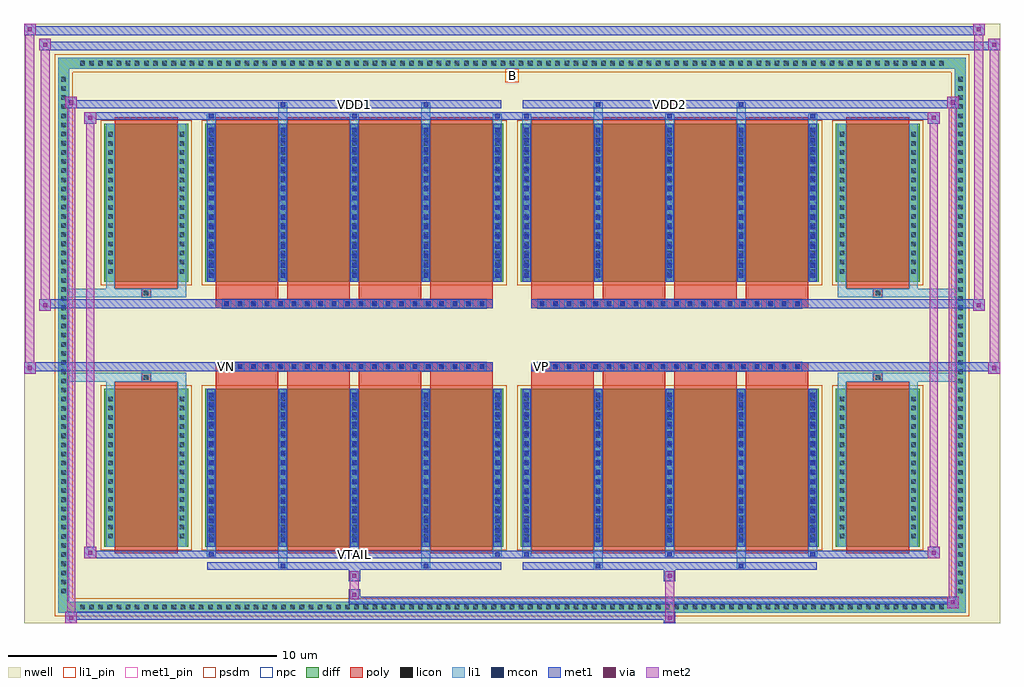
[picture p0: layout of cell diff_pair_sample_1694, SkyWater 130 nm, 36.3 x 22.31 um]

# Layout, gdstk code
import gdstk
lib = gdstk.Library(unit=1e-6, precision=5e-09)
def R(c, l, rs):  # rectangles x0, y0, x1, y1
    for r in rs: c.add(gdstk.rectangle(r[:2], r[2:], *l))
def A(c, l, x, y, w, h, nx, ny, dx, dy):  # array of equal rectangles
    R(c, l, [(x+i*dx, y+j*dy, x+i*dx+w, y+j*dy+h) for i in range(nx) for j in range(ny)])
def P(c, l, *ps):  # polygons
    for p in ps: c.add(gdstk.Polygon(p, *l))
nwell = (64, 20)
diff = (65, 20)
poly = (66, 20)
licon = (66, 44)
li1_pin = (67, 16)
li1 = (67, 20)
mcon = (67, 44)
met1_pin = (68, 16)
met1 = (68, 20)
via = (68, 44)
met2 = (69, 20)
psdm = (94, 20)
npc = (95, 20)

diff_pair_sample_1694 = lib.new_cell('diff_pair_sample_1694')
R(diff_pair_sample_1694, nwell, [(-18.15,-10.72,18.15,11.59), (-15.47,-8.91,-0.01,-0.805), (0.01,-8.91,15.47,-0.805), (-15.47,0.805,-0.01,8.91), (0.01,0.805,15.47,8.91)])
A(diff_pair_sample_1694, diff, -16.185, -10.32, 0.41, 0.41, 95, 2, 0.34, 20.23)
A(diff_pair_sample_1694, diff, -16.88, -9.725, 0.41, 0.41, 1, 57, 0, 0.34)
A(diff_pair_sample_1694, diff, 16.47, -9.725, 0.41, 0.41, 1, 57, 0, 0.34)
R(diff_pair_sample_1694, diff, [(-16.185,-10.32,16.185,-9.91), (-16.88,-9.725,-16.47,9.725), (16.47,-9.725,16.88,9.725), (-15.16,-7.865,-12.05,-1.985), (-11.41,-7.865,-0.32,-1.985), (0.32,-7.865,11.41,-1.985), (12.05,-7.865,15.16,-1.985), (-15.16,1.985,-12.05,7.865), (-11.41,1.985,-0.32,7.865), (0.32,1.985,11.41,7.865), (12.05,1.985,15.16,7.865), (-16.185,9.91,16.185,10.32)])
P(diff_pair_sample_1694, diff, [(16.88,10.32),(-16.88,10.32),(-16.88,-9.91),(-16.47,-9.91),(-16.47,9.91),(16.47,9.91),(16.47,-9.91),(-16.47,-9.91),(-16.88,-9.91),(-16.88,-10.32),(16.88,-10.32)])
A(diff_pair_sample_1694, poly, -11.02, -8.115, 2.33, 6.38, 4, 2, 2.66, 9.85)
A(diff_pair_sample_1694, poly, 0.71, -8.115, 2.33, 6.38, 4, 2, 2.66, 9.85)
A(diff_pair_sample_1694, poly, -11.02, -1.735, 2.33, 0.4, 4, 2, 2.66, 3.07)
A(diff_pair_sample_1694, poly, 0.71, -1.735, 2.33, 0.4, 4, 2, 2.66, 3.07)
A(diff_pair_sample_1694, poly, -10.78, -1.335, 0.33, 0.33, 20, 2, 0.5, 2.34)
A(diff_pair_sample_1694, poly, 0.95, -1.335, 0.33, 0.33, 20, 2, 0.5, 2.34)
R(diff_pair_sample_1694, poly, [(-14.77,-8.115,-12.44,-1.735), (12.44,-8.115,14.77,-1.735), (-13.77,-1.735,-13.44,-1.405), (-13.77,-1.735,-13.44,-1.405), (13.44,-1.735,13.77,-1.405), (13.44,-1.735,13.77,-1.405), (-11.02,-1.335,-0.71,-1.005), (0.71,-1.335,11.02,-1.005), (-11.02,1.005,-0.71,1.335), (0.71,1.005,11.02,1.335), (-13.77,1.405,-13.44,1.735), (-13.77,1.405,-13.44,1.735), (13.44,1.405,13.77,1.735), (13.44,1.405,13.77,1.735), (-14.77,1.735,-12.44,8.115), (12.44,1.735,14.77,8.115)])
A(diff_pair_sample_1694, licon, -16.065, -10.2, 0.17, 0.17, 95, 2, 0.34, 20.23)
A(diff_pair_sample_1694, licon, -16.76, -9.605, 0.17, 0.17, 1, 57, 0, 0.34)
A(diff_pair_sample_1694, licon, 16.59, -9.605, 0.17, 0.17, 1, 57, 0, 0.34)
A(diff_pair_sample_1694, licon, -15.02, -7.56, 0.17, 0.17, 1, 16, 0, 0.34)
A(diff_pair_sample_1694, licon, -12.36, -7.56, 0.17, 0.17, 1, 16, 0, 0.34)
A(diff_pair_sample_1694, licon, -11.27, -7.56, 0.17, 0.17, 5, 16, 2.66, 0.34)
A(diff_pair_sample_1694, licon, 0.46, -7.56, 0.17, 0.17, 5, 16, 2.66, 0.34)
A(diff_pair_sample_1694, licon, 12.19, -7.56, 0.17, 0.17, 1, 16, 0, 0.34)
A(diff_pair_sample_1694, licon, 14.85, -7.56, 0.17, 0.17, 1, 16, 0, 0.34)
A(diff_pair_sample_1694, licon, -10.7, -1.255, 0.17, 0.17, 20, 2, 0.5, 2.34)
A(diff_pair_sample_1694, licon, 1.03, -1.255, 0.17, 0.17, 20, 2, 0.5, 2.34)
A(diff_pair_sample_1694, licon, -15.02, 2.29, 0.17, 0.17, 1, 16, 0, 0.34)
A(diff_pair_sample_1694, licon, -12.36, 2.29, 0.17, 0.17, 1, 16, 0, 0.34)
A(diff_pair_sample_1694, licon, -11.27, 2.29, 0.17, 0.17, 5, 16, 2.66, 0.34)
A(diff_pair_sample_1694, licon, 0.46, 2.29, 0.17, 0.17, 5, 16, 2.66, 0.34)
A(diff_pair_sample_1694, licon, 12.19, 2.29, 0.17, 0.17, 1, 16, 0, 0.34)
A(diff_pair_sample_1694, licon, 14.85, 2.29, 0.17, 0.17, 1, 16, 0, 0.34)
R(diff_pair_sample_1694, licon, [(-13.69,-1.655,-13.52,-1.485), (13.52,-1.655,13.69,-1.485), (-13.69,1.485,-13.52,1.655), (13.52,1.485,13.69,1.655)])
R(diff_pair_sample_1694, li1_pin, [(-0.25,9.41,0.25,9.91)])
A(diff_pair_sample_1694, li1, -16.145, -10.28, 0.33, 0.33, 95, 2, 0.34, 20.23)
A(diff_pair_sample_1694, li1, -16.84, -9.685, 0.33, 0.33, 1, 57, 0, 0.34)
A(diff_pair_sample_1694, li1, 16.51, -9.685, 0.33, 0.33, 1, 57, 0, 0.34)
A(diff_pair_sample_1694, li1, -11.35, -8.24, 0.33, 0.375, 3, 2, 5.32, 16.105)
A(diff_pair_sample_1694, li1, -11.27, -8.24, 0.17, 0.17, 3, 2, 5.32, 16.31)
A(diff_pair_sample_1694, li1, 0.38, -8.24, 0.33, 0.375, 3, 2, 5.32, 16.105)
A(diff_pair_sample_1694, li1, 0.46, -8.24, 0.17, 0.17, 3, 2, 5.32, 16.31)
A(diff_pair_sample_1694, li1, -11.35, -7.865, 0.33, 5.88, 5, 2, 2.66, 9.85)
A(diff_pair_sample_1694, li1, 0.38, -7.865, 0.33, 5.88, 5, 2, 2.66, 9.85)
A(diff_pair_sample_1694, li1, -11.27, -7.71, 0.17, 0.17, 5, 16, 2.66, 0.36)
A(diff_pair_sample_1694, li1, -11.27, -7.71, 0.17, 5.57, 5, 2, 2.66, 9.85)
A(diff_pair_sample_1694, li1, 0.46, -7.71, 0.17, 0.17, 5, 16, 2.66, 0.36)
A(diff_pair_sample_1694, li1, 0.46, -7.71, 0.17, 5.57, 5, 2, 2.66, 9.85)
A(diff_pair_sample_1694, li1, -15.1, -7.64, 0.33, 0.33, 1, 16, 0, 0.34)
A(diff_pair_sample_1694, li1, -12.44, -7.64, 0.33, 0.33, 1, 16, 0, 0.34)
A(diff_pair_sample_1694, li1, -11.35, -7.64, 0.33, 0.33, 5, 16, 2.66, 0.34)
A(diff_pair_sample_1694, li1, 0.38, -7.64, 0.33, 0.33, 5, 16, 2.66, 0.34)
A(diff_pair_sample_1694, li1, 12.11, -7.64, 0.33, 0.33, 1, 16, 0, 0.34)
A(diff_pair_sample_1694, li1, 14.77, -7.64, 0.33, 0.33, 1, 16, 0, 0.34)
A(diff_pair_sample_1694, li1, -10.78, -1.335, 0.33, 0.33, 20, 2, 0.5, 2.34)
A(diff_pair_sample_1694, li1, 0.95, -1.335, 0.33, 0.33, 20, 2, 0.5, 2.34)
A(diff_pair_sample_1694, li1, -11.27, 2.14, 0.17, 0.17, 5, 16, 2.66, 0.36)
A(diff_pair_sample_1694, li1, 0.46, 2.14, 0.17, 0.17, 5, 16, 2.66, 0.36)
A(diff_pair_sample_1694, li1, -15.1, 2.21, 0.33, 0.33, 1, 16, 0, 0.34)
A(diff_pair_sample_1694, li1, -12.44, 2.21, 0.33, 0.33, 1, 16, 0, 0.34)
A(diff_pair_sample_1694, li1, -11.35, 2.21, 0.33, 0.33, 5, 16, 2.66, 0.34)
A(diff_pair_sample_1694, li1, 0.38, 2.21, 0.33, 0.33, 5, 16, 2.66, 0.34)
A(diff_pair_sample_1694, li1, 12.11, 2.21, 0.33, 0.33, 1, 16, 0, 0.34)
A(diff_pair_sample_1694, li1, 14.77, 2.21, 0.33, 0.33, 1, 16, 0, 0.34)
R(diff_pair_sample_1694, li1, [(-16.88,-10.32,-16.47,-9.91), (-16.88,-10.32,-16.47,-9.91), (-16.47,-10.32,16.47,-9.91), (16.47,-10.32,16.88,-9.91), (16.47,-10.32,16.88,-9.91), (-16.88,-9.91,-16.47,9.91), (16.47,-9.91,16.88,9.91), (-8.69,-8.67,-8.36,-7.865), (-8.61,-8.67,-8.44,-8.5), (-3.37,-8.67,-3.04,-7.865), (-3.29,-8.67,-3.12,-8.5), (3.04,-8.67,3.37,-7.865), (3.12,-8.67,3.29,-8.5), (8.36,-8.67,8.69,-7.865), (8.44,-8.67,8.61,-8.5), (-15.1,-7.865,-14.77,-1.985), (-12.44,-7.865,-12.11,-1.985), (12.11,-7.865,12.44,-1.985), (14.77,-7.865,15.1,-1.985), (-15.1,-1.985,-14.77,-1.405), (-12.44,-1.985,-12.11,-1.405), (12.11,-1.985,12.44,-1.405), (14.77,-1.985,15.1,-1.405), (-16.88,-1.735,-13.77,-1.405), (-15.1,-1.735,-13.77,-1.405), (-13.77,-1.735,-13.44,-1.405), (-13.44,-1.735,-12.11,-1.405), (12.11,-1.735,13.44,-1.405), (13.44,-1.735,13.77,-1.405), (13.44,-1.735,16.88,-1.405), (13.77,-1.735,15.1,-1.405), (-16.88,1.405,-13.77,1.735), (-15.1,1.405,-13.77,1.735), (-15.1,1.405,-14.77,1.985), (-13.77,1.405,-13.44,1.735), (-13.44,1.405,-12.11,1.735), (-12.44,1.405,-12.11,1.985), (12.11,1.405,13.44,1.735), (12.11,1.405,12.44,1.985), (13.44,1.405,13.77,1.735), (13.44,1.405,16.88,1.735), (13.77,1.405,15.1,1.735), (14.77,1.405,15.1,1.985), (-15.1,1.985,-14.77,7.865), (-12.44,1.985,-12.11,7.865), (12.11,1.985,12.44,7.865), (14.77,1.985,15.1,7.865), (-8.69,7.865,-8.36,8.67), (-3.37,7.865,-3.04,8.67), (3.04,7.865,3.37,8.67), (8.36,7.865,8.69,8.67), (-8.61,8.5,-8.44,8.67), (-3.29,8.5,-3.12,8.67), (3.12,8.5,3.29,8.67), (8.44,8.5,8.61,8.67), (-16.88,9.91,-16.47,10.32), (-16.88,9.91,-16.47,10.32), (-16.47,9.91,16.47,10.32), (16.47,9.91,16.88,10.32), (16.47,9.91,16.88,10.32)])
A(diff_pair_sample_1694, mcon, -11.27, -8.24, 0.17, 0.17, 3, 2, 5.32, 16.31)
A(diff_pair_sample_1694, mcon, 0.46, -8.24, 0.17, 0.17, 3, 2, 5.32, 16.31)
A(diff_pair_sample_1694, mcon, -11.27, -7.71, 0.17, 0.17, 5, 16, 2.66, 0.36)
A(diff_pair_sample_1694, mcon, 0.46, -7.71, 0.17, 0.17, 5, 16, 2.66, 0.36)
A(diff_pair_sample_1694, mcon, -10.7, -1.255, 0.17, 0.17, 20, 2, 0.5, 2.34)
A(diff_pair_sample_1694, mcon, 1.03, -1.255, 0.17, 0.17, 20, 2, 0.5, 2.34)
A(diff_pair_sample_1694, mcon, -11.27, 2.14, 0.17, 0.17, 5, 16, 2.66, 0.36)
A(diff_pair_sample_1694, mcon, 0.46, 2.14, 0.17, 0.17, 5, 16, 2.66, 0.36)
R(diff_pair_sample_1694, mcon, [(-8.61,-8.67,-8.44,-8.5), (-3.29,-8.67,-3.12,-8.5), (3.12,-8.67,3.29,-8.5), (8.44,-8.67,8.61,-8.5), (-8.61,8.5,-8.44,8.67), (-3.29,8.5,-3.12,8.67), (3.12,8.5,3.29,8.67), (8.44,8.5,8.61,8.67)])
R(diff_pair_sample_1694, met1_pin, [(-6,-8.28,-5.73,-8.01), (-10.75,-1.295,-10.48,-1.025), (0.98,-1.295,1.25,-1.025), (-6,8.46,-5.73,8.73), (5.73,8.46,6,8.73)])
A(diff_pair_sample_1694, met1, -11.33, -8.3, 0.29, 0.29, 3, 2, 5.32, 16.31)
A(diff_pair_sample_1694, met1, 0.4, -8.3, 0.29, 0.29, 3, 2, 5.32, 16.31)
A(diff_pair_sample_1694, met1, -11.33, -7.865, 0.29, 5.88, 5, 2, 2.66, 9.85)
A(diff_pair_sample_1694, met1, 0.4, -7.865, 0.29, 5.88, 5, 2, 2.66, 9.85)
A(diff_pair_sample_1694, met1, -11.33, -7.77, 0.29, 0.29, 5, 16, 2.66, 0.36)
A(diff_pair_sample_1694, met1, 0.4, -7.77, 0.29, 0.29, 5, 16, 2.66, 0.36)
A(diff_pair_sample_1694, met1, -10.76, -1.315, 0.29, 0.29, 20, 2, 0.5, 2.34)
A(diff_pair_sample_1694, met1, 0.97, -1.315, 0.29, 0.29, 20, 2, 0.5, 2.34)
A(diff_pair_sample_1694, met1, -11.33, 2.08, 0.29, 0.29, 5, 16, 2.66, 0.36)
A(diff_pair_sample_1694, met1, 0.4, 2.08, 0.29, 0.29, 5, 16, 2.66, 0.36)
R(diff_pair_sample_1694, met1, [(-16.61,-10.72,-16.18,-10.29), (5.65,-10.72,6.08,-10.29), (-16.61,-10.58,6.08,-10.29), (16.18,-10.15,16.61,-9.72), (-6.08,-10.01,16.61,-9.72), (-6.08,-9.87,-5.65,-9.44), (-6.08,-9.16,-5.65,-8.73), (5.65,-9.16,6.08,-8.73), (-11.33,-8.73,-0.4,-8.44), (-8.67,-8.73,-8.38,-8.44), (-3.35,-8.73,-3.06,-8.44), (0.4,-8.73,11.33,-8.44), (3.06,-8.73,3.35,-8.44), (8.38,-8.73,8.67,-8.44), (-15.9,-8.3,-15.47,-7.87), (-15.9,-8.3,-11.33,-8.01), (-11.33,-8.3,-0.4,-8.01), (-0.4,-8.3,0.4,-8.01), (0.4,-8.3,11.33,-8.01), (11.33,-8.3,15.9,-8.01), (15.47,-8.3,15.9,-7.87), (-18.15,-1.435,-17.72,-1.005), (17.72,-1.435,18.15,-1.005), (-18.15,-1.335,-0.71,-1.005), (-11.02,-1.335,-0.71,-1.005), (0.71,-1.335,11.02,-1.005), (0.71,-1.335,18.15,-1.005), (-17.58,0.905,-17.15,1.335), (17.15,0.905,17.58,1.335), (-17.58,1.005,-11.02,1.335), (-11.02,1.005,-0.71,1.335), (0.71,1.005,11.02,1.335), (11.02,1.005,17.58,1.335), (-15.9,7.87,-15.47,8.3), (15.47,7.87,15.9,8.3), (-15.9,8.01,-11.33,8.3), (-11.33,8.01,-0.4,8.3), (-0.4,8.01,0.4,8.3), (0.4,8.01,11.33,8.3), (11.33,8.01,15.9,8.3), (-16.61,8.44,-16.18,8.87), (-16.61,8.44,-11.33,8.73), (-11.33,8.44,-0.4,8.73), (-8.67,8.44,-8.38,8.73), (-3.35,8.44,-3.06,8.73), (0.4,8.44,11.33,8.73), (3.06,8.44,3.35,8.73), (8.38,8.44,8.67,8.73), (11.33,8.44,16.61,8.73), (16.18,8.44,16.61,8.87), (-17.58,10.59,-17.15,11.02), (-17.58,10.59,-15.47,10.92), (-15.47,10.59,15.47,10.92), (15.47,10.59,18.15,10.92), (17.72,10.59,18.15,11.02), (-18.15,11.16,-17.72,11.59), (-18.15,11.16,-15.47,11.49), (-15.47,11.16,15.47,11.49), (15.47,11.16,17.58,11.49), (17.15,11.16,17.58,11.59)])
R(diff_pair_sample_1694, via, [(-16.47,-10.58,-16.32,-10.43), (5.79,-10.58,5.94,-10.43), (16.32,-10.01,16.47,-9.86), (-5.94,-9.73,-5.79,-9.58), (-5.94,-9.02,-5.79,-8.87), (5.79,-9.02,5.94,-8.87), (-15.76,-8.16,-15.61,-8.01), (15.61,-8.16,15.76,-8.01), (-18.01,-1.295,-17.86,-1.145), (17.86,-1.295,18.01,-1.145), (-17.44,1.045,-17.29,1.195), (17.29,1.045,17.44,1.195), (-15.76,8.01,-15.61,8.16), (15.61,8.01,15.76,8.16), (-16.47,8.58,-16.32,8.73), (16.32,8.58,16.47,8.73), (-17.44,10.73,-17.29,10.88), (17.86,10.73,18.01,10.88), (-18.01,11.3,-17.86,11.45), (17.29,11.3,17.44,11.45)])
R(diff_pair_sample_1694, met2, [(-16.61,-10.72,-16.18,-10.29), (-16.54,-10.72,-16.25,8.87), (-16.25,-10.72,-16.18,-10.29), (-16.56,-10.67,-16.23,-10.34), (5.7,-10.67,6.03,-10.34), (5.7,-10.34,6.03,-9.11), (16.18,-10.15,16.61,-9.72), (16.25,-10.15,16.54,8.87), (16.54,-10.15,16.61,-9.72), (16.23,-10.1,16.56,-9.77), (-6.03,-9.82,-5.7,-9.49), (-6.03,-9.49,-5.7,-9.11), (-6.03,-9.11,-5.7,-8.78), (5.7,-9.11,6.03,-8.78), (-15.9,-8.3,-15.47,-7.87), (-15.83,-8.3,-15.54,8.3), (-15.54,-8.3,-15.47,-7.87), (15.47,-8.3,15.9,-7.87), (15.54,-8.3,15.83,8.3), (15.83,-8.3,15.9,-7.87), (-15.85,-8.25,-15.52,-7.92), (15.52,-8.25,15.85,-7.92), (-18.15,-1.435,-17.72,-1.005), (-18.1,-1.435,-17.77,11.59), (-17.77,-1.435,-17.72,-1.005), (17.72,-1.435,18.15,-1.005), (17.77,-1.435,18.1,11.02), (18.1,-1.435,18.15,-1.005), (-18.1,-1.385,-17.77,-1.055), (17.77,-1.385,18.1,-1.055), (-17.58,0.905,-17.15,1.335), (-17.53,0.905,-17.2,11.02), (-17.2,0.905,-17.15,1.335), (17.15,0.905,17.58,1.335), (17.2,0.905,17.53,11.59), (17.53,0.905,17.58,1.335), (-17.53,0.955,-17.2,1.285), (17.2,0.955,17.53,1.285), (-15.9,7.87,-15.47,8.3), (-15.54,7.87,-15.47,8.3), (15.47,7.87,15.9,8.3), (15.83,7.87,15.9,8.3), (-15.85,7.92,-15.52,8.25), (15.52,7.92,15.85,8.25), (-16.61,8.44,-16.18,8.87), (-16.25,8.44,-16.18,8.87), (16.18,8.44,16.61,8.87), (16.54,8.44,16.61,8.87), (-16.56,8.49,-16.23,8.82), (16.23,8.49,16.56,8.82), (-17.58,10.59,-17.15,11.02), (-17.2,10.59,-17.15,11.02), (17.72,10.59,18.15,11.02), (18.1,10.59,18.15,11.02), (-17.53,10.64,-17.2,10.97), (17.77,10.64,18.1,10.97), (-18.15,11.16,-17.72,11.59), (-17.77,11.16,-17.72,11.59), (17.15,11.16,17.58,11.59), (17.53,11.16,17.58,11.59), (-18.1,11.21,-17.77,11.54), (17.2,11.21,17.53,11.54)])
R(diff_pair_sample_1694, psdm, [(-15.29,-7.995,-11.92,-1.855), (-11.54,-7.995,-0.19,-1.855), (0.19,-7.995,11.54,-1.855), (11.92,-7.995,15.29,-1.855), (-15.29,1.855,-11.92,7.995), (-11.54,1.855,-0.19,7.995), (0.19,1.855,11.54,7.995), (11.92,1.855,15.29,7.995)])
P(diff_pair_sample_1694, psdm, [(17.01,10.45),(-17.01,10.45),(-17.01,-9.78),(-16.34,-9.78),(-16.34,9.78),(16.34,9.78),(16.34,-9.78),(-16.34,-9.78),(-17.01,-9.78),(-17.01,-10.45),(17.01,-10.45)])
A(diff_pair_sample_1694, npc, -10.8, -1.355, 0.37, 0.37, 20, 2, 0.5, 2.34)
A(diff_pair_sample_1694, npc, 0.93, -1.355, 0.37, 0.37, 20, 2, 0.5, 2.34)
R(diff_pair_sample_1694, npc, [(-13.79,-1.755,-13.42,-1.385), (13.42,-1.755,13.79,-1.385), (-10.8,-1.355,-9.93,-0.985), (-10.8,-1.355,-9.93,-0.985), (-10.3,-1.355,-9.43,-0.985), (-10.3,-1.355,-9.43,-0.985), (-9.8,-1.355,-8.93,-0.985), (-9.8,-1.355,-8.93,-0.985), (-9.3,-1.355,-8.43,-0.985), (-9.3,-1.355,-8.43,-0.985), (-8.8,-1.355,-7.93,-0.985), (-8.8,-1.355,-7.93,-0.985), (-8.3,-1.355,-7.43,-0.985), (-8.3,-1.355,-7.43,-0.985), (-7.8,-1.355,-6.93,-0.985), (-7.8,-1.355,-6.93,-0.985), (-7.3,-1.355,-6.43,-0.985), (-7.3,-1.355,-6.43,-0.985), (-6.8,-1.355,-5.93,-0.985), (-6.8,-1.355,-5.93,-0.985), (-6.3,-1.355,-5.43,-0.985), (-6.3,-1.355,-5.43,-0.985), (-5.8,-1.355,-4.93,-0.985), (-5.8,-1.355,-4.93,-0.985), (-5.3,-1.355,-4.43,-0.985), (-5.3,-1.355,-4.43,-0.985), (-4.8,-1.355,-3.93,-0.985), (-4.8,-1.355,-3.93,-0.985), (-4.3,-1.355,-3.43,-0.985), (-4.3,-1.355,-3.43,-0.985), (-3.8,-1.355,-2.93,-0.985), (-3.8,-1.355,-2.93,-0.985), (-3.3,-1.355,-2.43,-0.985), (-3.3,-1.355,-2.43,-0.985), (-2.8,-1.355,-1.93,-0.985), (-2.8,-1.355,-1.93,-0.985), (-2.3,-1.355,-1.43,-0.985), (-2.3,-1.355,-1.43,-0.985), (-1.8,-1.355,-0.93,-0.985), (-1.8,-1.355,-0.93,-0.985), (0.93,-1.355,1.8,-0.985), (0.93,-1.355,1.8,-0.985), (1.43,-1.355,2.3,-0.985), (1.43,-1.355,2.3,-0.985), (1.93,-1.355,2.8,-0.985), (1.93,-1.355,2.8,-0.985), (2.43,-1.355,3.3,-0.985), (2.43,-1.355,3.3,-0.985), (2.93,-1.355,3.8,-0.985), (2.93,-1.355,3.8,-0.985), (3.43,-1.355,4.3,-0.985), (3.43,-1.355,4.3,-0.985), (3.93,-1.355,4.8,-0.985), (3.93,-1.355,4.8,-0.985), (4.43,-1.355,5.3,-0.985), (4.43,-1.355,5.3,-0.985), (4.93,-1.355,5.8,-0.985), (4.93,-1.355,5.8,-0.985), (5.43,-1.355,6.3,-0.985), (5.43,-1.355,6.3,-0.985), (5.93,-1.355,6.8,-0.985), (5.93,-1.355,6.8,-0.985), (6.43,-1.355,7.3,-0.985), (6.43,-1.355,7.3,-0.985), (6.93,-1.355,7.8,-0.985), (6.93,-1.355,7.8,-0.985), (7.43,-1.355,8.3,-0.985), (7.43,-1.355,8.3,-0.985), (7.93,-1.355,8.8,-0.985), (7.93,-1.355,8.8,-0.985), (8.43,-1.355,9.3,-0.985), (8.43,-1.355,9.3,-0.985), (8.93,-1.355,9.8,-0.985), (8.93,-1.355,9.8,-0.985), (9.43,-1.355,10.3,-0.985), (9.43,-1.355,10.3,-0.985), (9.93,-1.355,10.8,-0.985), (9.93,-1.355,10.8,-0.985), (-10.8,0.985,-9.93,1.355), (-10.8,0.985,-9.93,1.355), (-10.3,0.985,-9.43,1.355), (-10.3,0.985,-9.43,1.355), (-9.8,0.985,-8.93,1.355), (-9.8,0.985,-8.93,1.355), (-9.3,0.985,-8.43,1.355), (-9.3,0.985,-8.43,1.355), (-8.8,0.985,-7.93,1.355), (-8.8,0.985,-7.93,1.355), (-8.3,0.985,-7.43,1.355), (-8.3,0.985,-7.43,1.355), (-7.8,0.985,-6.93,1.355), (-7.8,0.985,-6.93,1.355), (-7.3,0.985,-6.43,1.355), (-7.3,0.985,-6.43,1.355), (-6.8,0.985,-5.93,1.355), (-6.8,0.985,-5.93,1.355), (-6.3,0.985,-5.43,1.355), (-6.3,0.985,-5.43,1.355), (-5.8,0.985,-4.93,1.355), (-5.8,0.985,-4.93,1.355), (-5.3,0.985,-4.43,1.355), (-5.3,0.985,-4.43,1.355), (-4.8,0.985,-3.93,1.355), (-4.8,0.985,-3.93,1.355), (-4.3,0.985,-3.43,1.355), (-4.3,0.985,-3.43,1.355), (-3.8,0.985,-2.93,1.355), (-3.8,0.985,-2.93,1.355), (-3.3,0.985,-2.43,1.355), (-3.3,0.985,-2.43,1.355), (-2.8,0.985,-1.93,1.355), (-2.8,0.985,-1.93,1.355), (-2.3,0.985,-1.43,1.355), (-2.3,0.985,-1.43,1.355), (-1.8,0.985,-0.93,1.355), (-1.8,0.985,-0.93,1.355), (0.93,0.985,1.8,1.355), (0.93,0.985,1.8,1.355), (1.43,0.985,2.3,1.355), (1.43,0.985,2.3,1.355), (1.93,0.985,2.8,1.355), (1.93,0.985,2.8,1.355), (2.43,0.985,3.3,1.355), (2.43,0.985,3.3,1.355), (2.93,0.985,3.8,1.355), (2.93,0.985,3.8,1.355), (3.43,0.985,4.3,1.355), (3.43,0.985,4.3,1.355), (3.93,0.985,4.8,1.355), (3.93,0.985,4.8,1.355), (4.43,0.985,5.3,1.355), (4.43,0.985,5.3,1.355), (4.93,0.985,5.8,1.355), (4.93,0.985,5.8,1.355), (5.43,0.985,6.3,1.355), (5.43,0.985,6.3,1.355), (5.93,0.985,6.8,1.355), (5.93,0.985,6.8,1.355), (6.43,0.985,7.3,1.355), (6.43,0.985,7.3,1.355), (6.93,0.985,7.8,1.355), (6.93,0.985,7.8,1.355), (7.43,0.985,8.3,1.355), (7.43,0.985,8.3,1.355), (7.93,0.985,8.8,1.355), (7.93,0.985,8.8,1.355), (8.43,0.985,9.3,1.355), (8.43,0.985,9.3,1.355), (8.93,0.985,9.8,1.355), (8.93,0.985,9.8,1.355), (9.43,0.985,10.3,1.355), (9.43,0.985,10.3,1.355), (9.93,0.985,10.8,1.355), (9.93,0.985,10.8,1.355), (-13.79,1.385,-13.42,1.755), (13.42,1.385,13.79,1.755)])
diff_pair_sample_1694.add(gdstk.Label('VTAIL', (-5.865,-8.145), layer=68, texttype=5))
diff_pair_sample_1694.add(gdstk.Label('VN', (-10.615,-1.16), layer=68, texttype=5))
diff_pair_sample_1694.add(gdstk.Label('VP', (1.115,-1.16), layer=68, texttype=5))
diff_pair_sample_1694.add(gdstk.Label('B', (0,9.66), layer=67, texttype=5))
diff_pair_sample_1694.add(gdstk.Label('VDD2', (5.865,8.595), layer=68, texttype=5))
diff_pair_sample_1694.add(gdstk.Label('VDD1', (-5.865,8.595), layer=68, texttype=5))

lib.write_gds('diff_pair_sample_1694.gds')
